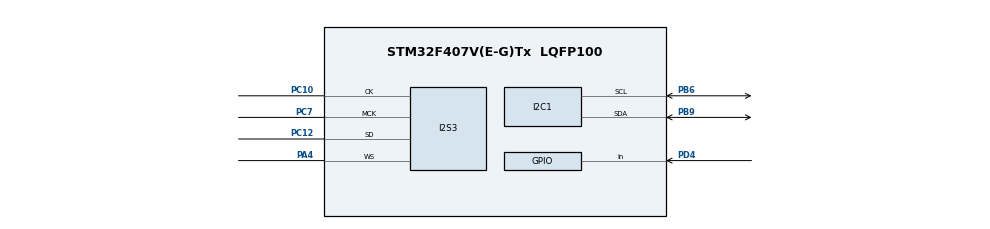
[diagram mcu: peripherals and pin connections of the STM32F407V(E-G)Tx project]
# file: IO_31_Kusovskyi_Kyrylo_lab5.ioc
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Dma.Request0=SPI3_TX
Dma.SPI3_TX.0.Direction=DMA_MEMORY_TO_PERIPH
Dma.SPI3_TX.0.FIFOMode=DMA_FIFOMODE_ENABLE
Dma.SPI3_TX.0.FIFOThreshold=DMA_FIFO_THRESHOLD_FULL
Dma.SPI3_TX.0.Instance=DMA1_Stream5
Dma.SPI3_TX.0.MemBurst=DMA_MBURST_SINGLE
Dma.SPI3_TX.0.MemDataAlignment=DMA_MDATAALIGN_HALFWORD
Dma.SPI3_TX.0.MemInc=DMA_MINC_ENABLE
Dma.SPI3_TX.0.Mode=DMA_CIRCULAR
Dma.SPI3_TX.0.PeriphBurst=DMA_PBURST_SINGLE
Dma.SPI3_TX.0.PeriphDataAlignment=DMA_PDATAALIGN_HALFWORD
Dma.SPI3_TX.0.PeriphInc=DMA_PINC_DISABLE
Dma.SPI3_TX.0.Priority=DMA_PRIORITY_LOW
I2S3.AudioFreq=I2S_AUDIOFREQ_48K
I2S3.ErrorAudioFreq=-2.34 %
I2S3.FullDuplexMode=I2S_FULLDUPLEXMODE_DISABLE
I2S3.Instance=SPI$Index
I2S3.RealAudioFreq=46.875 KHz
I2S3.VirtualMode=I2S_MODE_MASTER
Mcu.Family=STM32F4
Mcu.Name=STM32F407V(E-G)Tx
Mcu.Package=LQFP100
NVIC.DMA1_Stream5_IRQn=true\:0\:0\:false\:false\:true\:false\:true\:true
NVIC.PriorityGroup=NVIC_PRIORITYGROUP_4
PA4.Mode=Half_Duplex_Master
PA4.Signal=I2S3_WS
PB6.Mode=I2C
PB6.Signal=I2C1_SCL
PB9.Mode=I2C
PB9.Signal=I2C1_SDA
PC10.Mode=Half_Duplex_Master
PC10.Signal=I2S3_CK
PC12.Mode=Half_Duplex_Master
PC12.Signal=I2S3_SD
PC7.Mode=Master_Clock_Activated
PC7.Signal=I2S3_MCK
PD4.Signal=GPIO_Input
ProjectManager.HeapSize=0x200
ProjectManager.StackSize=0x400
ProjectManager.TargetToolchain=STM32CubeIDE
RCC.AHBFreq_Value=16000000
RCC.APB1Freq_Value=16000000
RCC.APB2Freq_Value=16000000
RCC.CortexFreq_Value=16000000
RCC.HSE_VALUE=25000000
RCC.HSI_VALUE=16000000
RCC.LSE_VALUE=32768
RCC.SYSCLKFreq_VALUE=16000000
RCC.VCOOutputFreq_Value=192000000
board=custom

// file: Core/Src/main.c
/* USER CODE BEGIN Header */
/**
  ******************************************************************************
  * @file           : main.c
  * @brief          : Main program body
  ******************************************************************************
  * @attention
  *
  * Copyright (c) 2026 STMicroelectronics.
  * All rights reserved.
  *
  * This software is licensed under terms that can be found in the LICENSE file
  * in the root directory of this software component.
  * If no LICENSE file comes with this software, it is provided AS-IS.
  *
  ******************************************************************************
  */

#include "main.h"
#include "dma.h"
#include "i2c.h"
#include "i2s.h"
#include "gpio.h"

/* USER CODE BEGIN PTD */
typedef struct {
    uint8_t note_freq;    // Frequency register value for CS43L22
    uint16_t duration;    // Duration in milliseconds
} Note_t;
/* USER CODE END PTD */

/* USER CODE BEGIN PD */
// CS43L22 I2C Address
#define CS43L22_ADDR        0x94  // 0x4A << 1

// CS43L22 Register Addresses
#define CS43L22_REG_ID              0x01
#define CS43L22_REG_POWER_CTRL1     0x02
#define CS43L22_REG_POWER_CTRL2     0x04
#define CS43L22_REG_CLOCKING_CTRL   0x05
#define CS43L22_REG_INTERFACE_CTRL1 0x06
#define CS43L22_REG_BEEP_FREQ_TIME  0x1C
#define CS43L22_REG_BEEP_VOL_TONE   0x1D
#define CS43L22_REG_BEEP_TONE_CFG   0x1E
#define CS43L22_REG_MASTER_A_VOL    0x20
#define CS43L22_REG_MASTER_B_VOL    0x21
#define CS43L22_REG_HP_A_VOL        0x22
#define CS43L22_REG_HP_B_VOL        0x23

// Beep Generator Frequency Values
#define BEEP_OFF    0x00
#define BEEP_G4     0x5C
#define BEEP_DS4    0x4C
#define BEEP_AS4    0x68
#define BEEP_D5     0x78
#define BEEP_DS5    0x7C
#define BEEP_FS4    0x58
#define BEEP_G5     0x8C
#define BEEP_FS5    0x88
#define BEEP_F5     0x84
#define BEEP_E5     0x80
#define BEEP_GS4    0x60
#define BEEP_CS5    0x74
#define BEEP_C5     0x70
#define BEEP_B4     0x6C
#define BEEP_A4     0x64

// LED pins
#define LED_GREEN   GPIO_PIN_12
#define LED_ORANGE  GPIO_PIN_13
#define LED_RED     GPIO_PIN_14
#define LED_BLUE    GPIO_PIN_15
/* USER CODE END PD */

/* USER CODE BEGIN PV */
extern I2C_HandleTypeDef hi2c1;
extern I2S_HandleTypeDef hi2s3;

const Note_t imperial_march[] = {
    {BEEP_G4, 500}, {BEEP_G4, 500}, {BEEP_G4, 500}, {BEEP_DS4, 350}, {BEEP_AS4, 150},
    {BEEP_G4, 500}, {BEEP_DS4, 350}, {BEEP_AS4, 150}, {BEEP_G4, 1000},
    {BEEP_D5, 500}, {BEEP_D5, 500}, {BEEP_D5, 500}, {BEEP_DS5, 350}, {BEEP_AS4, 150},
    {BEEP_FS4, 500}, {BEEP_DS4, 350}, {BEEP_AS4, 150}, {BEEP_G4, 1000}
};

const uint8_t melody_length = sizeof(imperial_march) / sizeof(Note_t);
static uint8_t play_count = 0;
static uint8_t current_note = 0;
static uint32_t note_start_time = 0;
static uint8_t is_playing = 0;
static uint32_t led_last_update = 0;
static uint8_t led_pattern = 0;
static uint8_t melody_finished = 0;
/* USER CODE END PV */

void SystemClock_Config(void);
/* USER CODE BEGIN PFP */
HAL_StatusTypeDef CS43L22_Init(void);
HAL_StatusTypeDef CS43L22_WriteReg(uint8_t reg, uint8_t value);
uint8_t CS43L22_ReadReg(uint8_t reg);
void CS43L22_PlayBeep(uint8_t frequency, uint8_t volume);
void CS43L22_StopBeep(void);
void Play_Imperial_March(void);
void Update_LED_Show(uint8_t note_frequency);
void Reset_LEDs(void);
/* USER CODE END PFP */

/* Main Function */
int main(void)
{
  HAL_Init();
  SystemClock_Config();
  MX_GPIO_Init();
  MX_DMA_Init();
  MX_I2C1_Init();
  MX_I2S3_Init();

  /* USER CODE BEGIN 2 */
  // Hardware Reset DAC
  HAL_GPIO_WritePin(GPIOD, GPIO_PIN_4, GPIO_PIN_RESET);
  HAL_Delay(10);
  HAL_GPIO_WritePin(GPIOD, GPIO_PIN_4, GPIO_PIN_SET);

  if (CS43L22_Init() != HAL_OK) {
      while(1) { // Blink Red if error
          HAL_GPIO_TogglePin(GPIOD, LED_RED);
          HAL_Delay(100);
      }
  }

  // Brief LED flash to confirm init
  HAL_GPIO_WritePin(GPIOD, LED_GREEN|LED_ORANGE|LED_RED|LED_BLUE, GPIO_PIN_SET);
  HAL_Delay(200);
  HAL_GPIO_WritePin(GPIOD, LED_GREEN|LED_ORANGE|LED_RED|LED_BLUE, GPIO_PIN_RESET);
  HAL_Delay(1000);
  /* USER CODE END 2 */

  while (1)
  {
    /* USER CODE BEGIN WHILE */
    Play_Imperial_March();
    HAL_Delay(10);
    /* USER CODE END WHILE */
  }
}

/* USER CODE BEGIN 4 */
HAL_StatusTypeDef CS43L22_WriteReg(uint8_t reg, uint8_t value) {
    uint8_t data[2] = {reg, value};
    return HAL_I2C_Master_Transmit(&hi2c1, CS43L22_ADDR, data, 2, 100);
}

uint8_t CS43L22_ReadReg(uint8_t reg) {
    uint8_t value = 0;
    HAL_I2C_Master_Transmit(&hi2c1, CS43L22_ADDR, &reg, 1, 100);
    HAL_I2C_Master_Receive(&hi2c1, CS43L22_ADDR, &value, 1, 100);
    return value;
}

HAL_StatusTypeDef CS43L22_Init(void) {
    HAL_StatusTypeDef status = HAL_OK;
    status |= CS43L22_WriteReg(CS43L22_REG_POWER_CTRL1, 0x01); // Power Up
    status |= CS43L22_WriteReg(CS43L22_REG_CLOCKING_CTRL, 0x81); // Auto-clock
    status |= CS43L22_WriteReg(CS43L22_REG_INTERFACE_CTRL1, 0x04); // I2S
    status |= CS43L22_WriteReg(CS43L22_REG_MASTER_A_VOL, 0x18);
    status |= CS43L22_WriteReg(CS43L22_REG_MASTER_B_VOL, 0x18);
    status |= CS43L22_WriteReg(CS43L22_REG_BEEP_TONE_CFG, 0x80);
    status |= CS43L22_WriteReg(CS43L22_REG_POWER_CTRL2, 0xAF); // HP/Speakers On
    return status;
}

void CS43L22_PlayBeep(uint8_t frequency, uint8_t volume) {
    CS43L22_WriteReg(CS43L22_REG_BEEP_FREQ_TIME, frequency);
    CS43L22_WriteReg(CS43L22_REG_BEEP_VOL_TONE, (volume & 0x0F) | 0x80);
    CS43L22_WriteReg(CS43L22_REG_BEEP_TONE_CFG, 0xC0);
}

void CS43L22_StopBeep(void) {
    CS43L22_WriteReg(CS43L22_REG_BEEP_TONE_CFG, 0x80);
    Reset_LEDs();
}

void Update_LED_Show(uint8_t note_frequency) {
    uint32_t current_time = HAL_GetTick();
    if (current_time - led_last_update > 100) {
        led_last_update = current_time;
        HAL_GPIO_WritePin(GPIOD, LED_GREEN|LED_ORANGE|LED_RED|LED_BLUE, GPIO_PIN_RESET);
        if (note_frequency != BEEP_OFF) {
            uint16_t pins[] = {LED_GREEN, LED_ORANGE, LED_RED, LED_BLUE};
            HAL_GPIO_WritePin(GPIOD, pins[led_pattern % 4], GPIO_PIN_SET);
            led_pattern++;
        }
    }
}

void Reset_LEDs(void) {
    HAL_GPIO_WritePin(GPIOD, LED_GREEN|LED_ORANGE|LED_RED|LED_BLUE, GPIO_PIN_RESET);
}

void Play_Imperial_March(void) {
    if (melody_finished) return;
    uint32_t current_time = HAL_GetTick();

    if (!is_playing) {
        if (play_count < 3) {
            is_playing = 1; current_note = 0; note_start_time = current_time;
        } else {
            melody_finished = 1; Reset_LEDs(); return;
        }
    }

    if (current_time - note_start_time >= imperial_march[current_note].duration) {
        CS43L22_StopBeep();
        current_note++;
        if (current_note >= melody_length) {
            play_count++; is_playing = 0;
            if (play_count < 3) HAL_Delay(1000);
            return;
        }
        note_start_time = current_time;
    }

    if (imperial_march[current_note].note_freq != BEEP_OFF) {
        CS43L22_PlayBeep(imperial_march[current_note].note_freq, 0x0A);
    }
    Update_LED_Show(imperial_march[current_note].note_freq);
}
/* USER CODE END 4 */

void SystemClock_Config(void)
{

}

void Error_Handler(void)
{
  __disable_irq();
  while (1) {}
}
